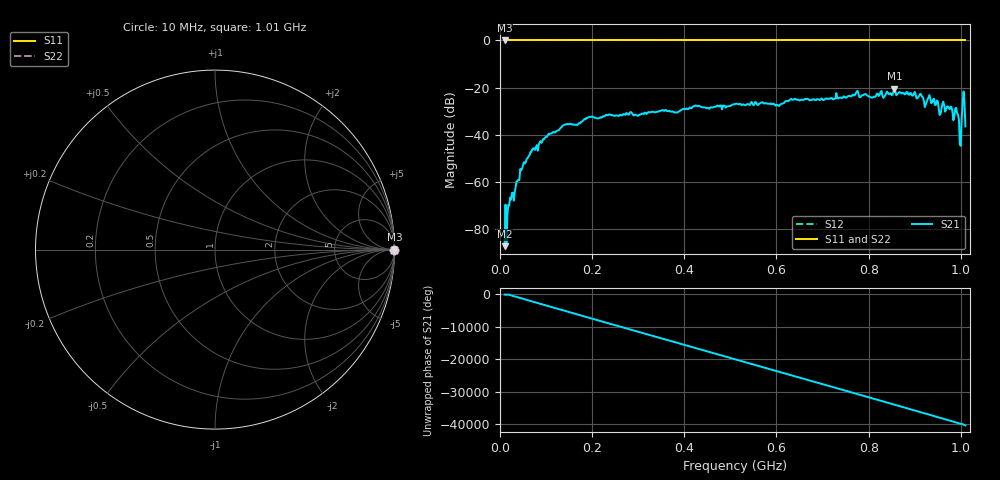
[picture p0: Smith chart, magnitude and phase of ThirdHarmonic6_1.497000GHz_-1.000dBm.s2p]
! 8/16/2025 5:34:23 PM
! C:\ANRITSUVNA\TEMP\TEMP.S2P
! CHANNEL.1
! TR.MEASUREMENT
! RAW.DATA
! RF.CORRECTION.OFF
! AVERAGING.OFF
! IF.BANDWIDTH: 5KHZ
! SWEEPTYPE:  FREQ.SWEEP(Linear)
! Reference Plane Port Info
! PORT:  PORT1  PORT2
! DISTANCE:  0  m  0  m
! TIME:  0  s  0  s
! PHASE.OFFSET:  0  deg.  0  deg.
! LOSS:  0  dB  0  dB
! REF.LOSS:  0  dB  0  dB
! REF.FREQ:  0  Hz  0  Hz
! Power Info
! POWER:  -20  dBm  -20  dBm
! EFF.POWER:  -20  dBm  -20  dBm
! SOURCE.ATTEN:  0  dB  0  dB
! TEST.ATTEN:  0  dB  0  dB
# GHZ S RI R 50.0
! FREQ.GHZ  S11RE  S11IM  S21RE  S21IM  S12RE  S12IM  S22RE  S22IM
!; PortSelection: Port_12
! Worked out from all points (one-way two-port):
!   501 points, 10 MHz to 1.01 GHz, reference 50 ohm
!   highest |S21| = -20.38 dB at 856 MHz (marker M1); lowest = -87.1 dB at 10 MHz (marker M2)
!   lowest |S11| = 0.0 dB at 10 MHz (marker M3)
!   |S11| at or under -10 dB: nowhere
!   |S22| runs from 0.0 to 0.0 dB; largest |S21 - S12| = 1.1
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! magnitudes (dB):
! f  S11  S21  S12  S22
! 10 MHz  0.0  -87.1  0.0  0.0
! 22 MHz  0.0  -66.5  0.0  0.0
! 48 MHz  0.0  -54.3  0.0  0.0
! 70 MHz  0.0  -46.1  0.0  0.0
! 140 MHz  0.0  -35.7  0.0  0.0
! 178 MHz  0.0  -34.3  0.0  0.0
! 344 MHz  0.0  -30.1  0.0  0.0
! 510 MHz  0.0  -27.0  0.0  0.0
! 602 MHz  0.0  -27.2  0.0  0.0
! 678 MHz  0.0  -25.0  0.0  0.0
! 844 MHz  0.0  -22.8  0.0  0.0
! 856 MHz  0.0  -20.4  0.0  0.0
! 914 MHz  0.0  -22.9  0.0  0.0
! 924 MHz  0.0  -27.1  0.0  0.0
! 932 MHz  0.0  -23.1  0.0  0.0
! 956 MHz  0.0  -31.1  0.0  0.0
! 976 MHz  0.0  -29.1  0.0  0.0
! 992 MHz  0.0  -30.7  0.0  0.0
! 996 MHz  0.0  -33.6  0.0  0.0
! 998 MHz  0.0  -44.0  0.0  0.0
! 1.006 GHz  0.0  -21.6  0.0  0.0
! 1.01 GHz  0.0  -36.4  0.0  0.0
